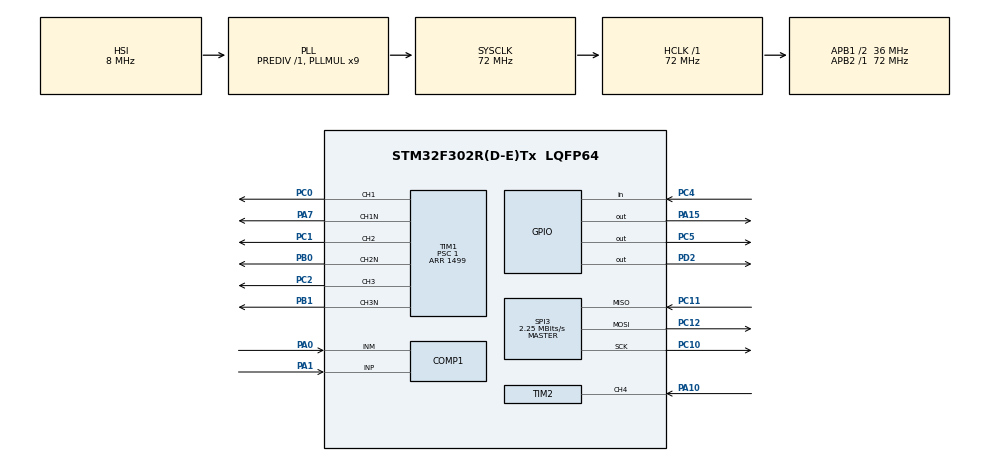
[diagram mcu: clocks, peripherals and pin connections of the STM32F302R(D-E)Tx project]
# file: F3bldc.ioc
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COMP1.BlankingSrce=COMP_BLANKINGSRCE_TIM1OC5
COMP1.TriggerMode=COMP_TRIGGERMODE_IT_RISING_FALLING
Dma.Request0=TIM2_CH2/CH4
Dma.TIM2_CH2/CH4.0.Direction=DMA_PERIPH_TO_MEMORY
Dma.TIM2_CH2/CH4.0.Instance=DMA1_Channel7
Dma.TIM2_CH2/CH4.0.MemDataAlignment=DMA_MDATAALIGN_WORD
Dma.TIM2_CH2/CH4.0.MemInc=DMA_MINC_ENABLE
Dma.TIM2_CH2/CH4.0.Mode=DMA_NORMAL
Dma.TIM2_CH2/CH4.0.PeriphDataAlignment=DMA_PDATAALIGN_HALFWORD
Dma.TIM2_CH2/CH4.0.PeriphInc=DMA_PINC_DISABLE
Dma.TIM2_CH2/CH4.0.Priority=DMA_PRIORITY_HIGH
IWDG.Prescaler=IWDG_PRESCALER_16
IWDG.Reload=4000
Mcu.Family=STM32F3
Mcu.Name=STM32F302R(D-E)Tx
Mcu.Package=LQFP64
NVIC.COMP1_2_IRQn=true\:0\:0\:false\:false\:true\:false
NVIC.DMA1_Channel7_IRQn=true\:0\:0\:false\:false\:true\:false
NVIC.PriorityGroup=NVIC_PRIORITYGROUP_4
NVIC.TIM1_UP_TIM16_IRQn=true\:0\:0\:false\:false\:true\:true
PA0.Mode=INM
PA0.Signal=COMP1_INM
PA1.Mode=INP
PA1.Signal=COMP1_INP
PA10.Signal=S_TIM2_CH4
PA13.Mode=Serial_Wire
PA13.Signal=SYS_JTMS-SWDIO
PA14.Mode=Serial_Wire
PA14.Signal=SYS_JTCK-SWCLK
PA15.Signal=GPIO_Output
PA7.Mode=PWM Generation1 CH1 CH1N
PA7.Signal=TIM1_CH1N
PB0.Mode=PWM Generation2 CH2 CH2N
PB0.Signal=TIM1_CH2N
PB1.Mode=PWM Generation3 CH3 CH3N
PB1.Signal=TIM1_CH3N
PC0.Signal=S_TIM1_CH1
PC1.Signal=S_TIM1_CH2
PC10.Mode=Full_Duplex_Master
PC10.Signal=SPI3_SCK
PC11.Mode=Full_Duplex_Master
PC11.Signal=SPI3_MISO
PC12.Mode=Full_Duplex_Master
PC12.Signal=SPI3_MOSI
PC2.Signal=S_TIM1_CH3
PC4.GPIO_PuPd=GPIO_PULLUP
PC4.Signal=GPIO_Input
PC5.Signal=GPIO_Output
PD2.Signal=GPIO_Output
ProjectManager.HeapSize=0x200
ProjectManager.StackSize=0x400
ProjectManager.TargetToolchain=TrueSTUDIO
RCC.AHBFreq_Value=72000000
RCC.APB1CLKDivider=RCC_HCLK_DIV2
RCC.APB1Freq_Value=36000000
RCC.APB1TimFreq_Value=72000000
RCC.APB2Freq_Value=72000000
RCC.APB2TimFreq_Value=72000000
RCC.CortexFreq_Value=72000000
RCC.HCLKFreq_Value=72000000
RCC.HSE_VALUE=8000000
RCC.HSI_VALUE=8000000
RCC.LSE_VALUE=32768
RCC.PLLMUL=RCC_PLL_MUL9
RCC.SYSCLKFreq_VALUE=72000000
RCC.SYSCLKSourceVirtual=RCC_SYSCLKSOURCE_PLLCLK
RCC.USBFreq_Value=72000000
SH.S_TIM1_CH1.0=TIM1_CH1,PWM Generation1 CH1 CH1N
SH.S_TIM1_CH2.0=TIM1_CH2,PWM Generation2 CH2 CH2N
SH.S_TIM1_CH3.0=TIM1_CH3,PWM Generation3 CH3 CH3N
SH.S_TIM2_CH4.0=TIM2_CH4,Input_Capture4_from_TI4
SPI3.BaudRatePrescaler=SPI_BAUDRATEPRESCALER_16
SPI3.CLKPhase=SPI_PHASE_2EDGE
SPI3.CLKPolarity=SPI_POLARITY_LOW
SPI3.CalculateBaudRate=2.25 MBits/s
SPI3.DataSize=SPI_DATASIZE_16BIT
SPI3.Direction=SPI_DIRECTION_2LINES
SPI3.Mode=SPI_MODE_MASTER
SPI3.VirtualType=VM_MASTER
TIM1.Channel-PWM\ Generation1\ CH1\ CH1N=TIM_CHANNEL_1
TIM1.Channel-PWM\ Generation2\ CH2\ CH2N=TIM_CHANNEL_2
TIM1.Channel-PWM\ Generation3\ CH3\ CH3N=TIM_CHANNEL_3
TIM1.Channel-PWM\ Generation5\ No\ Output=TIM_CHANNEL_5
TIM1.CounterMode=TIM_COUNTERMODE_UP
TIM1.DeadTime=0
TIM1.Period=1499
TIM1.Prescaler=1
TIM1.TIM_MasterOutputTrigger=TIM_TRGO_RESET
TIM16.Period=5000
TIM16.Prescaler=10
TIM2.Channel-Input_Capture4_from_TI4=TIM_CHANNEL_4
TIM2.ICPolarity_CH4=TIM_INPUTCHANNELPOLARITY_BOTHEDGE
TIM2.Period=65536
TIM2.Prescaler=0
TIM3.Period=65535
TIM3.Prescaler=10
VP_IWDG_VS_IWDG.Mode=IWDG_Activate
VP_TIM16_VS_ClockSourceINT.Mode=Enable_Timer
VP_TIM1_VS_ClockSourceINT.Mode=Internal
VP_TIM1_VS_no_output5.Mode=PWM Generation5 No Output
VP_TIM2_VS_ClockSourceINT.Mode=Internal
VP_TIM3_VS_ClockSourceINT.Mode=Internal
board=F3bldc

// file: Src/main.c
/** Test Program for STM32F3 esc version 2, with Drv8323 driver.
 * Thanks to o-drive for SPI code for TI driver setup https://github.com/madcowswe/ODrive
 *
 * TODO, work on startup sequence. currently might not start up all motors.
 * possibly polling comparator at startup to limit triggers.
*/

#include "main.h"
#include "stm32f3xx_hal.h"

/* USER CODE BEGIN Includes */
#define ADR_FAULT_STAT      (0x00)
#define ADR_VGS_STAT        (0x01)
#define ADR_DRV_CTRL        (0x02)
#define ADR_GATE_DRV_HS     (0x03)
#define ADR_GATE_DRV_LS     (0x04)
#define ADR_OCP_CTRL        (0x05)
#define ADR_CSA_CTRL        (0x06)
/* USER CODE END Includes */

COMP_HandleTypeDef hcomp1;

IWDG_HandleTypeDef hiwdg;

SPI_HandleTypeDef hspi3;

TIM_HandleTypeDef htim1;
TIM_HandleTypeDef htim2;
TIM_HandleTypeDef htim3;
TIM_HandleTypeDef htim16;
DMA_HandleTypeDef hdma_tim2_ch2_ch4;

/* USER CODE BEGIN PV */
int brake = 1;                   // turns on motor brake on 0 input , shorts motor windings
char slow_decay = 1;              // turns on complementary PWM with active braking 1 or freewheel 0
int start_power = 325;            // startup duty cycle , out of 1499
char advancedivisorup = 10;        // amount of advance when BEMF rising, 60 degree time / 10 = 6 degree advance for example
char advancedivisordown = 10;      // 60 degree time / advancedivisor = advance, should set proportianal to rpm in future
int pwm_settle = 60;             // blanking source duration for comparator, out of 1499
int start_com_interval = 10000;    // set a start interval after start sequence, small motors may need lower interval
int startupcycles = 15000;           // number of cycles to keep startup power reduction

int bi_direction = 0;
int max_servo_deviation = 150;

int bemf_counts;
int compit;
int filter_delay;
int filter_level;
char error = 0;
int signal_timeout_threshold = 20000;
int signaltimeout = 0;
int servoraw;
int adjusted_input = 0;
int commutate_count= 0;

int startup_throttle_limit_countdown;
int step = 1;
int timestamp;
int count = 10;
int upthiszctime = 0;
int uplastzctime = 0;
int startupcountdown=0;
char advancedivisor = 5;                    // increase divisor to decrease advance,
int thiszctime = 0;
int lastzctime = 0;
int sensorless = 0;
int commutation_interval = 0;
int advance = 0; // set proportianal to commutation time. with advance divisor
int blanktime = 2000;
int waitTime = 0;
int inputcapture = 0;
int zctimeout = 0;
int zc_timeout_threshold = 10000;   // depends on commutation speed, set in main loop
int duty_cycle = 0;
int pwm = 1;
int floating = 2;
int lowside = 3;
int forward = 1;
int rising = 1;
int running = 0;
int started = 0;
char armed = 0;
int armedcount = 0;
int input_buffer_size = 64;
int smallestnumber = 20000;
uint32_t dma_buffer[64];
int input = 0;
int newinput =0;
int voltageraw = 0;
int currentraw = 0;
uint32_t ADC1ConvertedValues[2] = {0,0};
char servoPwm = 0;
char inputSet = 0;

/* Private variables ---------------------------------------------------------*/
/*Register setup for the DRV8323 driver*/
uint16_t DRV8323regDrvCtrl =
  0 << 9  | //DIS_CPUV
  0 << 8  | //DIS_GDF
  0 << 7  | //OTW_REP
  0 << 5  | //PWM_MODE
  0 << 4  | //1PWM_COM
  0 << 3  | //1PWM_DIR
  0 << 2  | //COAST
  0 << 1  | //BRAKE
  0;        //CLR_FLT

uint16_t DRV8323regGateDrvHS =
  3 << 8  | //LOCK
  6 << 4 | //IDRIVEP_HS
  6;       //IDRIVEN_HS

uint16_t DRV8323regGateDrvLS =
  1 << 10 | //CBC
  2 << 8  | //TDRIVE
  6 << 4 | //IDRIVEP_LS                       // set very low for now
  6;       //IDRIVEN_LS

uint16_t DRV8323regOcpCtrl =
  1 << 10 | //TRETRY
  2 << 8  | //DEAD_TIME
  1 << 6  | //OCP_MODE
  1 << 4  | //OCP_DEG
  0;        //VDS_LVL

uint16_t DRV8323regCsaCtrl =
  0 << 10 | //CSA_FET
  1 << 9  | //VREF_DIV
  0 << 8  | //LS_REF
  2 << 6  | //CSA_GAIN
  0 << 5  | //DIS_SEN
  0 << 4  | //CSA_CAL_A
  0 << 3  | //CCSA_CAL_B
  0 << 2  | //CCSA_CAL_C
  3;        //CSEN_LVL
/* USER CODE END PV */

void SystemClock_Config(void);
static void MX_GPIO_Init(void);
static void MX_DMA_Init(void);
static void MX_COMP1_Init(void);
static void MX_TIM1_Init(void);
static void MX_TIM2_Init(void);
static void MX_TIM3_Init(void);
static void MX_IWDG_Init(void);
static void MX_TIM16_Init(void);
static void MX_SPI3_Init(void);

void HAL_TIM_MspPostInit(TIM_HandleTypeDef *htim);

/* USER CODE BEGIN PFP */
/* Private function prototypes -----------------------------------------------*/
void DRV8323_writeSpi(uint8_t regAdr, uint16_t regVal)
{
	uint16_t controlword = (regAdr & 0x7) << 11 | (regVal & 0x7ff); //MSbit =0 for write, address is 3 bits (MSbit is always 0), data is 11 bits

	HAL_GPIO_WritePin(GPIOD, GPIO_PIN_2, GPIO_PIN_RESET);
	HAL_SPI_Transmit(&hspi3, (uint8_t*)(&controlword), 1, 1000);
	HAL_GPIO_WritePin(GPIOD, GPIO_PIN_2, GPIO_PIN_SET);
	return;
}

uint16_t DRV8323_readSpi(uint8_t regAdr)
{
 //   uint16_t zerobuff = 0;
	uint16_t controlword = 0x8000 | (regAdr & 0x7) << 11; //MSbit =1 for read, address is 3 bits (MSbit is always 0), data is 11 bits
	uint16_t recbuff = 0xbeef;

	HAL_GPIO_WritePin(GPIOD, GPIO_PIN_2, GPIO_PIN_RESET);
	HAL_SPI_TransmitReceive(&hspi3, (uint8_t*)(&controlword), (uint8_t*)(&recbuff), 1, 1000);
	HAL_GPIO_WritePin(GPIOD, GPIO_PIN_2, GPIO_PIN_SET);
	return (0x7ff&recbuff);
}

void DRV8323_setupSpi()
{
//    volatile uint16_t temp;
    HAL_GPIO_WritePin(GPIOC, GPIO_PIN_5, GPIO_PIN_SET); //PC5 is enable to motor controller
    HAL_Delay(1);
	DRV8323_writeSpi(ADR_DRV_CTRL, DRV8323regDrvCtrl);
	HAL_Delay(1);
	DRV8323_writeSpi(ADR_GATE_DRV_HS, DRV8323regGateDrvHS);
	HAL_Delay(2);
	DRV8323_writeSpi(ADR_GATE_DRV_LS, DRV8323regGateDrvLS);
	HAL_Delay(2);
	DRV8323_writeSpi(ADR_OCP_CTRL, DRV8323regOcpCtrl);
	HAL_Delay(2);
	DRV8323_writeSpi(ADR_CSA_CTRL, DRV8323regCsaCtrl);
	HAL_Delay(2);

//    temp = DRV8323_readSpi(ADR_FAULT_STAT);
//    temp = DRV8323_readSpi(ADR_VGS_STAT);
//    temp = DRV8323_readSpi(ADR_DRV_CTRL);
 //   temp = DRV8323_readSpi(ADR_GATE_DRV_HS);
//    temp = DRV8323_readSpi(ADR_GATE_DRV_LS);
 //   temp = DRV8323_readSpi(ADR_OCP_CTRL);
//    temp = DRV8323_readSpi(ADR_CSA_CTRL);
	return;
}

long map(long x, long in_min, long in_max, long out_min, long out_max)
{
	if (x < in_min){
		x = in_min;
	}
	if (x > in_max){
		x = in_max;
	}
	return (x - in_min) * (out_max - out_min) / (in_max - in_min) + out_min;

}

/* PhaseA() B and C.
 * Sets the pin mode for the PWM output depending on the phase.
 */
void phaseA(int newPhase) {
	if (newPhase == pwm) {
		if(!slow_decay){
			LL_GPIO_SetPinMode(GPIOA, GPIO_PIN_7, LL_GPIO_MODE_OUTPUT);
			GPIOA->BRR = GPIO_PIN_7;
		}else{
			LL_GPIO_SetPinMode(GPIOA, GPIO_PIN_7, LL_GPIO_MODE_ALTERNATE); // low
		}
		LL_GPIO_SetPinMode(GPIOC, GPIO_PIN_0, LL_GPIO_MODE_ALTERNATE);  // high

	}

	if (newPhase == floating) {
		LL_GPIO_SetPinMode(GPIOA, GPIO_PIN_7, LL_GPIO_MODE_OUTPUT);
		GPIOA->BRR = GPIO_PIN_7;
		LL_GPIO_SetPinMode(GPIOC, GPIO_PIN_0, LL_GPIO_MODE_OUTPUT);
		GPIOC->BRR = GPIO_PIN_0;
	}

	if (newPhase == lowside) {          // low mosfet on
		LL_GPIO_SetPinMode(GPIOA, GPIO_PIN_7, LL_GPIO_MODE_OUTPUT);
		GPIOA->BSRR = GPIO_PIN_7;
		LL_GPIO_SetPinMode(GPIOC, GPIO_PIN_0, LL_GPIO_MODE_OUTPUT);
		GPIOC->BRR = GPIO_PIN_0;
	}

}

void phaseB(int newPhase) {

	if (newPhase == pwm) {
		if(!slow_decay){
			LL_GPIO_SetPinMode(GPIOB, GPIO_PIN_0, LL_GPIO_MODE_OUTPUT);
			GPIOB->BRR = GPIO_PIN_0;
		}else{
			LL_GPIO_SetPinMode(GPIOB, GPIO_PIN_0, LL_GPIO_MODE_ALTERNATE);
		}
		LL_GPIO_SetPinMode(GPIOC, GPIO_PIN_1, LL_GPIO_MODE_ALTERNATE);

	}

	if (newPhase == floating) {            // floating
		LL_GPIO_SetPinMode(GPIOB, GPIO_PIN_0, LL_GPIO_MODE_OUTPUT);
		GPIOB->BRR = GPIO_PIN_0;
		LL_GPIO_SetPinMode(GPIOC, GPIO_PIN_1, LL_GPIO_MODE_OUTPUT);
		GPIOC->BRR = GPIO_PIN_1;
	}

	if (newPhase == lowside) {              // lowside
		LL_GPIO_SetPinMode(GPIOB, GPIO_PIN_0, LL_GPIO_MODE_OUTPUT);
		GPIOB->BSRR = GPIO_PIN_0;
		LL_GPIO_SetPinMode(GPIOC, GPIO_PIN_1, LL_GPIO_MODE_OUTPUT);
		GPIOC->BRR = GPIO_PIN_1;
	}
}

void phaseC(int newPhase) {
	if (newPhase == pwm) {
		if(!slow_decay){
			LL_GPIO_SetPinMode(GPIOB, GPIO_PIN_1, LL_GPIO_MODE_OUTPUT);
			GPIOB->BRR = GPIO_PIN_1;
		}else{
			LL_GPIO_SetPinMode(GPIOB, GPIO_PIN_1, LL_GPIO_MODE_ALTERNATE);
		}
		LL_GPIO_SetPinMode(GPIOC, GPIO_PIN_2, LL_GPIO_MODE_ALTERNATE);

	}

	if (newPhase == floating) {
		LL_GPIO_SetPinMode(GPIOB, GPIO_PIN_1, LL_GPIO_MODE_OUTPUT);
		GPIOB->BRR = GPIO_PIN_1;
		LL_GPIO_SetPinMode(GPIOC, GPIO_PIN_2, LL_GPIO_MODE_OUTPUT);
		GPIOC->BRR = GPIO_PIN_2;
	}

	if (newPhase == lowside) {
		LL_GPIO_SetPinMode(GPIOB, GPIO_PIN_1, LL_GPIO_MODE_OUTPUT);
		GPIOB->BSRR = GPIO_PIN_1;
		LL_GPIO_SetPinMode(GPIOC, GPIO_PIN_2, LL_GPIO_MODE_OUTPUT);
		GPIOC->BRR = GPIO_PIN_2;
	}

}

/*
 * sets phase A , B , C to either pwm , low or floating depending on the drive step
 */
void comStep(int newStep) {

	if (newStep == 1) {			//A-B
		phaseA(pwm);
		phaseB(lowside);
		phaseC(floating);
	}

	if (newStep == 2) {			// C-B
		phaseA(floating);
		phaseB(lowside);
		phaseC(pwm);
	}

	if (newStep == 3) {		// C-A
		phaseA(lowside);
		phaseB(floating);
		phaseC(pwm);
	}

	if (newStep == 4) {    // B-A
		phaseA(lowside);
		phaseB(pwm);
		phaseC(floating);
	}

	if (newStep == 5) {          // B-C
		phaseA(floating);
		phaseB(pwm);
		phaseC(lowside);
	}

	if (newStep == 6) {       // A-C
		phaseA(pwm);
		phaseB(floating);
		phaseC(lowside);
	}

}

void allOff() {          // all motor pwm output low
	phaseA(floating);
	phaseB(floating);
	phaseC(floating);
}

void fullBrake(){               // turns on lower mosfets to short motor windings and brake
	phaseA(lowside);
	phaseB(lowside);
	phaseC(lowside);
}

/*
 * Sets the comparator input to the correct one for the current step.
 */
void changeCompInput() {

	if (step == 1 || step == 4) {   // c floating
		hcomp1.Init.InvertingInput = COMP_INVERTINGINPUT_DAC1_CH2;
	}

	if (step == 2 || step == 5) {     // a floating
		hcomp1.Init.InvertingInput = COMP_INVERTINGINPUT_IO1;
	}

	if (step == 3 || step == 6) {      // b floating
		hcomp1.Init.InvertingInput = COMP_INVERTINGINPUT_DAC1_CH1;
	}
	if (rising){
		hcomp1.Init.TriggerMode = COMP_TRIGGERMODE_IT_FALLING;   // polarity of comp output is reversed
	}else{                          // falling bemf
		hcomp1.Init.TriggerMode = COMP_TRIGGERMODE_IT_RISING;
	}

	if (HAL_COMP_Init(&hcomp1) != HAL_OK) {
		_Error_Handler(__FILE__, __LINE__);
	}

}

/* commutate increments and changes the current commutation step and comparator input
 *  there are 6 steps for bldc drive per electrical revolution.
 */

void commutate() {

	if (forward == 1){
		step++;
		if (step > 6) {
			step = 1;
		}
		if (step == 1 || step == 3 || step == 5) {
			rising = 1;
		}
		if (step == 2 || step == 4 || step == 6) {
			rising = 0;
		}
	}
	if (forward == 0){
		step--;
		if (step < 1) {
			step = 6;
		}
		if (step == 1 || step == 3 || step == 5) {
			rising = 0;
		}
		if (step == 2 || step == 4 || step == 6) {
			rising = 1;
		}
	}
	comStep(step);
	changeCompInput();
}

/*

*/
void HAL_COMP_TriggerCallback(COMP_HandleTypeDef *hcomp) {
	if (TIM3->CNT < commutation_interval>>1){
		return;
	}
	/* Turn On LED3 */
		thiszctime = TIM3->CNT;
	//	GPIOA->BSRR = GPIO_PIN_15;
if (commutation_interval < 300 && bemf_counts < 300){         // startup failure
	HAL_COMP_Stop_IT(&hcomp1);
	input = 0;
			error = 2;
			return;
}
	if (compit > 20){
		HAL_COMP_Stop_IT(&hcomp1);
		error = 1;
		return;
	}
	compit +=1;
	while (TIM3->CNT - timestamp < filter_delay){

	}
	if (rising){
	//	advancedivisor = advancedivisorup;
		for (int i = 0; i < filter_level; i++){
		if (HAL_COMP_GetOutputLevel(&hcomp1) == COMP_OUTPUTLEVEL_HIGH){
	//		GPIOA->BRR = GPIO_PIN_15;
		return;
		}
		}
	}else{
	//	advancedivisor = advancedivisordown;
		for (int i = 0; i < filter_level; i++){
		if (HAL_COMP_GetOutputLevel(&hcomp1) == COMP_OUTPUTLEVEL_LOW){
	//		GPIOA->BRR = GPIO_PIN_15;

			return;
		}
		}

	}
	timestamp = TIM3->CNT;
	TIM3->CNT = 0 + timestamp - thiszctime;

	HAL_COMP_Stop_IT(&hcomp1);

	zctimeout = 0;

				commutation_interval = ((5 *commutation_interval) + thiszctime) / 6;    // TEST!   divide by two when tracking up down time independant
	//			bad_commutation = 0;
//			}
			advance = commutation_interval / advancedivisor;
			waitTime = commutation_interval /2   - advance ;
			blanktime = commutation_interval / 10;
		//	GPIOA->BRR = GPIO_PIN_15;

//		if(tempbrake){
//				HAL_COMP_Stop_IT(&hcomp1);
//				return;
//		}
		if (sensorless){
			while (TIM3->CNT  < waitTime){
			//	GPIOA->BSRR = GPIO_PIN_15;

			}
	//		TIM1->CNT = duty_cycle;
//			GPIOA->BRR = GPIO_PIN_15;
//			forcedcount = 0;
			compit = 0;
			commutate();
			while (TIM3->CNT  < waitTime + blanktime){
			}
		}

		lastzctime = thiszctime;
		if (bemf_counts < 200){
        bemf_counts++;
		}

//	}
//	GPIOA->BSRR = GPIO_PIN_15;
	if (HAL_COMP_Start_IT(&hcomp1) != HAL_OK) {
		/* Initialization Error */
		Error_Handler();
	}
//	GPIOA->BRR = GPIO_PIN_15;
}

void playStartupTune(){    // Sets the prescaler of PWM timer to 75 to put the frequency in the audible range
	TIM1->PSC = 75;
	TIM1->CCR1 = 5;        // keep the duty cycle low
	TIM1->CCR2 = 5;
	TIM1->CCR3 = 5;
	comStep(1);            // put it on step one
	HAL_Delay(100);
	TIM1->PSC = 50;        // change pitch by changing prescaler
	HAL_Delay(100);
	TIM1->PSC = 25;
	HAL_Delay(100);
	allOff();
	TIM1->PSC = 1;         // put the prescaler back to normal
}

void playInputTune(){
	TIM1->PSC = 100;
	TIM1->CCR1 = 5;
	TIM1->CCR2 = 5;
	TIM1->CCR3 = 5;
	comStep(1);
	HAL_Delay(100);
	TIM1->PSC = 50;
	HAL_Delay(100);
	allOff();
	TIM1->PSC = 1;
}

void getADCs(){
	voltageraw = ADC1ConvertedValues[0];
	currentraw = ADC1ConvertedValues[1];

}

//void HAL_ADC_ConvCpltCallback(ADC_HandleTypeDef* hadc1)
//{
//	getADCs();
//}

/* Checks the dma buffer for the smallest time increment to determine type of input */
void detectInput(){                         // legacy function, not needed unless using input capture to DMA buffer
	smallestnumber = 20000;
	servoPwm = 0;
	int lastnumber = dma_buffer[0];
	for ( int j = 1 ; j < input_buffer_size; j++){

		if((dma_buffer[j] - lastnumber) < smallestnumber){ // blank space
			smallestnumber = dma_buffer[j] - lastnumber;

		}
		lastnumber = dma_buffer[j];
	}
	if (smallestnumber > 1000 ){
		servoPwm = 1;
		TIM2->PSC = 71;
		TIM2->CNT = 65536;
	}

	if (smallestnumber == 0){
		inputSet = 0;
	}else{
		inputSet = 1;
		HAL_Delay(50);
	}
	HAL_TIM_IC_Start_DMA(&htim2, TIM_CHANNEL_4, dma_buffer , 64);        // starts the input capture to DMA buffer of length 64
}

void computeServoInput(){                   // maps the servo pulse length to newinput

   if((dma_buffer[1] - dma_buffer[0] > 980 ) && ((dma_buffer[1] - dma_buffer[0]) < 2010)){ // servo zone
	   if((dma_buffer[2] - dma_buffer[1]) > 2500 ){          // blank space
		   servoraw = map((dma_buffer[1] - dma_buffer[0]), 1090, 2000, 0, 2000);
	   }
	} else if((dma_buffer[2] - dma_buffer[1] > 980 ) && ((dma_buffer[2] - dma_buffer[1]) < 2010)){ // servo zone
  	   if((dma_buffer[1] - dma_buffer[0]) > 2500 ){          // blank space
  		   servoraw = map((dma_buffer[2] - dma_buffer[1]), 1090, 2000, 0, 2000);
  	   }
  	} else{
  		servoraw = 1;       // not enough to arm but and below motor start threshold
  	}
   if (servoraw - newinput > max_servo_deviation){
   		newinput += max_servo_deviation;
   	}else if(newinput - servoraw > max_servo_deviation){
   		newinput -= max_servo_deviation;
   	}else{
   		newinput = servoraw;
   	}
}

void transferComplete(){      // called when DMA buffer is full, starts DMA transfer with reduced buffer size
	if (inputSet == 1){
		if  (servoPwm == 1){
			computeServoInput();
			signaltimeout = 0;
			TIM2->CNT = 0;
			HAL_TIM_IC_Start_DMA(&htim2, TIM_CHANNEL_4, dma_buffer , 3);

		}
	}
}
void startMotor() {
	commutate_count++;
    char decaystate = slow_decay;
    sensorless = 0;
	if (running == 0){
		HAL_COMP_Stop_IT(&hcomp1);
		slow_decay = 1;

	commutate();
	HAL_Delay(2);

	commutation_interval = start_com_interval;
	TIM3->CNT = 0;
//	TIM2->CNT = 0;
//	TIM2->ARR = commutation_interval * 2;
	running = 1;
	if (HAL_COMP_Start_IT(&hcomp1) != HAL_OK) {
			/* Initialization Error */
			Error_Handler();
		}
	}

	slow_decay = decaystate;    // return to normal
	sensorless = 1;
	startupcountdown =0;
	bemf_counts = 0;

}

/* USER CODE END PFP */

int main(void)
        {

  /* MCU Configuration----------------------------------------------------------*/

  /* Reset of all peripherals, Initializes the Flash interface and the Systick. */
  HAL_Init();

  /* Configure the system clock */
  SystemClock_Config();

  /* Initialize all configured peripherals */
  MX_GPIO_Init();
  MX_DMA_Init();
  MX_COMP1_Init();
  MX_TIM1_Init();
  MX_TIM2_Init();
  MX_TIM3_Init();
  MX_IWDG_Init();
  MX_TIM16_Init();
  MX_SPI3_Init();

  /* USER CODE BEGIN 2 */
    HAL_TIM_PWM_Start(&htim1, TIM_CHANNEL_1);
  	HAL_TIMEx_PWMN_Start(&htim1, TIM_CHANNEL_1);
  	HAL_TIM_PWM_Start(&htim1, TIM_CHANNEL_2);
  	HAL_TIMEx_PWMN_Start(&htim1, TIM_CHANNEL_2);
  	HAL_TIM_PWM_Start(&htim1, TIM_CHANNEL_3);
  	HAL_TIMEx_PWMN_Start(&htim1, TIM_CHANNEL_3);
      HAL_TIM_Base_Start_IT(&htim16);
  	HAL_TIM_Base_Start(&htim3);

	        // plays a startup tune throught the motor

	if (HAL_TIM_OC_Start(&htim1, TIM_CHANNEL_5) != HAL_OK)
	{
	//	_Error_Handler(__FILE__, __LINE__);
	}

	//  	if (HAL_ADC_Start_DMA(&hadc1, (uint32_t*)ADC1ConvertedValues, 2) != HAL_OK)
	//  		return 0;

	if(HAL_COMP_Start_IT(&hcomp1) != HAL_OK)            // start comparator in interrupt mode
	{
		/* Initialization Error */
		Error_Handler();
	}
	if(HAL_IWDG_Init(&hiwdg) != HAL_OK)          // start watch dog timer
	{
		/* Initialization Error */
		Error_Handler();
	}
  	DRV8323_setupSpi();
  	playStartupTune();
  	TIM1->CCR1 = 0;												// set duty cycle to low start amount
  	TIM1->CCR2 = 0;
  	TIM1->CCR3 = 0;
  	TIM1->CCR5 = pwm_settle;

if(bi_direction){
	newinput = 1005;
}

  	///test code
  	 // 	 LL_GPIO_SetPinMode(GPIOA, GPIO_PIN_7, LL_GPIO_MODE_OUTPUT);
  	 // 	 LL_GPIO_SetPinMode(GPIOB, GPIO_PIN_0, LL_GPIO_MODE_OUTPUT);
  	 //	LL_GPIO_SetPinMode(GPIOB, GPIO_PIN_1, LL_GPIO_MODE_OUTPUT);

  	/// HIGH SIDES////
  	 //	LL_GPIO_SetPinMode(GPIOC, GPIO_PIN_0, LL_GPIO_MODE_OUTPUT);
  	 //	LL_GPIO_SetPinMode(GPIOC, GPIO_PIN_1, LL_GPIO_MODE_OUTPUT);
  	 //	LL_GPIO_SetPinMode(GPIOC, GPIO_PIN_2, LL_GPIO_MODE_OUTPUT);
  	//  	phaseA(floating);
  	//  	phaseB(floating);
  	//  	phaseC(pwm);
  	//  	LL_GPIO_SetPinMode(GPIOA, GPIO_PIN_7, LL_GPIO_MODE_OUTPUT);
  	//  	GPIOA->BSRR = GPIO_PIN_7;

  	/* USER CODE END 2 */

  /* Infinite loop */
  /* USER CODE BEGIN WHILE */
  while (1)
  {
	  if(HAL_IWDG_Refresh(&hiwdg) != HAL_OK)                   // watchdog refresh
	{
		/* Refresh Error */
		Error_Handler();
	}

	  compit = 0;
	  count++;

	  if ( count > 50000) {
		  count = 0;
	  }

	/*
	 * The next section takes newinput and keeps it within rate of change limits,
	 * the variable newinput can come from any source.
	 */

		if (bi_direction) {
			//char oldbrake = brake;

			if (newinput > 1100) {
				if (forward == 0) {
					forward = 1;
					bemf_counts = 0;

				}
				adjusted_input = (newinput - 1050) * 3;

			}
			if (newinput < 780) {
				if (forward == 1) {
					forward = 0;
					bemf_counts = 0;

				}
				adjusted_input = ((780 - newinput) * 3) + 100;
			}

			if (newinput > 779 && newinput < 1101) {
				adjusted_input = 0;
			}
	}else{           // single direction only
		adjusted_input = newinput;
	}

//	  adjusted_input = newinput;
	  if (adjusted_input > 100){
		if (adjusted_input > 2000){
			adjusted_input = 2000;
		}
		if (adjusted_input >= input){
			if (adjusted_input - input > 1){
					input += 1;

			}else{
				input = adjusted_input;
			}
		}
		if (adjusted_input < input){
			if (input - adjusted_input > 1){
				input -=1 ;
			}else{
				input = adjusted_input;
			}
		}
	}else{
		input = adjusted_input;
	}

	if (inputSet == 0){
		HAL_Delay(10);                             //        set back to 10 after testing
		detectInput();

	}

	if (bemf_counts < 3 || commutation_interval > 3000) {
				filter_delay = 0;
				filter_level = 12;
			} else {
				filter_delay = 0;
				filter_level = 5;

			}
	advancedivisor = map((commutation_interval), 100, 8000, 4, 8);

	signaltimeout++;
	if (signaltimeout > signal_timeout_threshold) {
		signaltimeout = 0;
		input = 0;
		armed = 0;
		armedcount = 0;
		error = 1;
		inputSet = 0;
		TIM15->PSC=0;
		TIM16->PSC=0;
		servoPwm = 0;
		HAL_TIM_Base_Start_IT(&htim16);
	//	IC_buffer_size = 64;
		for (int i=0; i < 64; i++){
			dma_buffer[i] = 0;
		}
		HAL_TIM_IC_Start_DMA(&htim2, TIM_CHANNEL_1, dma_buffer , 64);
		//	  duty_cycle = 0;          //mid point
	}

	if (!armed){                   // if not armed
		if ((inputSet == 1)&&(input == 0)){
			armedcount++;
			HAL_Delay(1);
			if (armedcount > 500){            // require a input to be stable at 0 for 500 ms
				commutation_interval = 0;
				armed = 1;
				playInputTune();
			}
		}
		if (input > 1){            // if the input goes over 1 reset armed count
			armedcount = 0;
		}
	}

	if (duty_cycle < 500 && commutation_interval < 200){         // stuck commutation at pwm speed
		zctimeout = zc_timeout_threshold;
	}

	if ((input > 100)&&(armed == 1)) {             // minimum input amount to start motor
		started = 1;
		duty_cycle = input - 15;                   // sets duty cycle, PWM
		if (duty_cycle > 1498){                      //  limit to 1400 for testing out of 1499
			duty_cycle = 1498;
		}
		if (bemf_counts < 30 ){
			if (duty_cycle > 500){
				duty_cycle = 500;
			}
			if (duty_cycle < 200){
				duty_cycle = 200;
			}
		}
		if (bemf_counts < 5 ){

					if (duty_cycle < start_power){
						duty_cycle = start_power;
					}
				}

		if (running){
			TIM1->CCR1 = duty_cycle;                // sets duty cycle for PWM output
			TIM1->CCR2 = duty_cycle;
			TIM1->CCR3 = duty_cycle;
			TIM1->CCR5 = pwm_settle;
		}
	}
	if (input <= 100) {                   //if input is less than 100 stop all, needs work for proper restart on the fly
		//HAL_COMP_Stop_IT(&hcomp1);
		started = 0;
	//	running = 0;
	//	commutation_interval = 0;
	//	duty_cycle = 120;
		if (!brake){
	//		allOff();
		}
		if(brake){
			fullBrake();
		}
		TIM1->CCR1 = 1;
		TIM1->CCR2 = 1;
		TIM1->CCR3 = 1;
	}

	if (TIM3->CNT > 40000){          // if the commutation timer goes past a normal commuatation length ZC's have timed out
		  running = 0;
		  started = 0;
		  TIM3->CNT = 0;

		}

	if (started == 1) {                           // Start the motor
		if (running == 0) {
			allOff();
			startMotor();  // safety on for input testing   ************************************************
		}
	}

//	if(startup_throttle_limit_countdown < startupcycles){           // to be tested, throttle limit for a short duration at startup
//		startup_throttle_limit_countdown++;
//		TIM1->CCR1 = start_power;
//		TIM1->CCR2 = start_power;
//		TIM1->CCR3 = start_power;
//
//	}

//	zc_timeout_threshold = 2000 - duty_cycle;               // sets the zero cross timeout threshold lower at higher duty cycles
}

  /* USER CODE END 3 */

}

/*
** This notice applies to any and all portions of this file
* that are not between comment pairs USER CODE BEGIN and
* USER CODE END. Other portions of this file, whether
* inserted by the user or by software development tools
* are owned by their respective copyright owners.
*
* COPYRIGHT(c) 2019 STMicroelectronics
*
* Redistribution and use in source and binary forms, with or without modification,
* are permitted provided that the following conditions are met:
*   1. Redistributions of source code must retain the above copyright notice,
*      this list of conditions and the following disclaimer.
*   2. Redistributions in binary form must reproduce the above copyright notice,
*      this list of conditions and the following disclaimer in the documentation
*      and/or other materials provided with the distribution.
*   3. Neither the name of STMicroelectronics nor the names of its contributors
*      may be used to endorse or promote products derived from this software
*      without specific prior written permission.
*
* THIS SOFTWARE IS PROVIDED BY THE COPYRIGHT HOLDERS AND CONTRIBUTORS "AS IS"
* AND ANY EXPRESS OR IMPLIED WARRANTIES, INCLUDING, BUT NOT LIMITED TO, THE
* IMPLIED WARRANTIES OF MERCHANTABILITY AND FITNESS FOR A PARTICULAR PURPOSE ARE
* DISCLAIMED. IN NO EVENT SHALL THE COPYRIGHT HOLDER OR CONTRIBUTORS BE LIABLE
* FOR ANY DIRECT, INDIRECT, INCIDENTAL, SPECIAL, EXEMPLARY, OR CONSEQUENTIAL
* DAMAGES (INCLUDING, BUT NOT LIMITED TO, PROCUREMENT OF SUBSTITUTE GOODS OR
* SERVICES; LOSS OF USE, DATA, OR PROFITS; OR BUSINESS INTERRUPTION) HOWEVER
* CAUSED AND ON ANY THEORY OF LIABILITY, WHETHER IN CONTRACT, STRICT LIABILITY,
* OR TORT (INCLUDING NEGLIGENCE OR OTHERWISE) ARISING IN ANY WAY OUT OF THE USE
* OF THIS SOFTWARE, EVEN IF ADVISED OF THE POSSIBILITY OF SUCH DAMAGE.
*
******************************************************************************
*/

/** System Clock Configuration
*/
void SystemClock_Config(void)
{

  RCC_OscInitTypeDef RCC_OscInitStruct;
  RCC_ClkInitTypeDef RCC_ClkInitStruct;
  RCC_PeriphCLKInitTypeDef PeriphClkInit;

    /**Initializes the CPU, AHB and APB busses clocks
    */
  RCC_OscInitStruct.OscillatorType = RCC_OSCILLATORTYPE_HSI|RCC_OSCILLATORTYPE_LSI;
  RCC_OscInitStruct.HSIState = RCC_HSI_ON;
  RCC_OscInitStruct.HSICalibrationValue = 16;
  RCC_OscInitStruct.LSIState = RCC_LSI_ON;
  RCC_OscInitStruct.PLL.PLLState = RCC_PLL_ON;
  RCC_OscInitStruct.PLL.PLLSource = RCC_PLLSOURCE_HSI;
  RCC_OscInitStruct.PLL.PLLMUL = RCC_PLL_MUL9;
  RCC_OscInitStruct.PLL.PREDIV = RCC_PREDIV_DIV1;
  if (HAL_RCC_OscConfig(&RCC_OscInitStruct) != HAL_OK)
  {
    _Error_Handler(__FILE__, __LINE__);
  }

    /**Initializes the CPU, AHB and APB busses clocks
    */
  RCC_ClkInitStruct.ClockType = RCC_CLOCKTYPE_HCLK|RCC_CLOCKTYPE_SYSCLK
                              |RCC_CLOCKTYPE_PCLK1|RCC_CLOCKTYPE_PCLK2;
  RCC_ClkInitStruct.SYSCLKSource = RCC_SYSCLKSOURCE_PLLCLK;
  RCC_ClkInitStruct.AHBCLKDivider = RCC_SYSCLK_DIV1;
  RCC_ClkInitStruct.APB1CLKDivider = RCC_HCLK_DIV2;
  RCC_ClkInitStruct.APB2CLKDivider = RCC_HCLK_DIV1;

  if (HAL_RCC_ClockConfig(&RCC_ClkInitStruct, FLASH_LATENCY_2) != HAL_OK)
  {
    _Error_Handler(__FILE__, __LINE__);
  }

  PeriphClkInit.PeriphClockSelection = RCC_PERIPHCLK_TIM1|RCC_PERIPHCLK_TIM16
                              |RCC_PERIPHCLK_TIM2|RCC_PERIPHCLK_TIM34;
  PeriphClkInit.Tim1ClockSelection = RCC_TIM1CLK_HCLK;
  PeriphClkInit.Tim16ClockSelection = RCC_TIM16CLK_HCLK;
  PeriphClkInit.Tim2ClockSelection = RCC_TIM2CLK_HCLK;
  PeriphClkInit.Tim34ClockSelection = RCC_TIM34CLK_HCLK;
  if (HAL_RCCEx_PeriphCLKConfig(&PeriphClkInit) != HAL_OK)
  {
    _Error_Handler(__FILE__, __LINE__);
  }

    /**Configure the Systick interrupt time
    */
  HAL_SYSTICK_Config(HAL_RCC_GetHCLKFreq()/1000);

    /**Configure the Systick
    */
  HAL_SYSTICK_CLKSourceConfig(SYSTICK_CLKSOURCE_HCLK);

  /* SysTick_IRQn interrupt configuration */
  HAL_NVIC_SetPriority(SysTick_IRQn, 0, 0);
}

/* COMP1 init function */
static void MX_COMP1_Init(void)
{

  hcomp1.Instance = COMP1;
  hcomp1.Init.InvertingInput = COMP_INVERTINGINPUT_IO1;
  hcomp1.Init.NonInvertingInput = COMP_NONINVERTINGINPUT_IO1;
  hcomp1.Init.Output = COMP_OUTPUT_NONE;
  hcomp1.Init.OutputPol = COMP_OUTPUTPOL_NONINVERTED;
  hcomp1.Init.BlankingSrce = COMP_BLANKINGSRCE_TIM1OC5;
  hcomp1.Init.TriggerMode = COMP_TRIGGERMODE_IT_RISING_FALLING;
  if (HAL_COMP_Init(&hcomp1) != HAL_OK)
  {
    _Error_Handler(__FILE__, __LINE__);
  }

}

/* IWDG init function */
static void MX_IWDG_Init(void)
{

	hiwdg.Instance = IWDG;
	hiwdg.Init.Prescaler = IWDG_PRESCALER_16;
	hiwdg.Init.Window = IWDG_WINDOW_DISABLE;
	hiwdg.Init.Reload = 2000;
	if (HAL_IWDG_Init(&hiwdg) != HAL_OK)
	{
		_Error_Handler(__FILE__, __LINE__);
	}

}

/* SPI3 init function */
static void MX_SPI3_Init(void)
{

  /* SPI3 parameter configuration*/
  hspi3.Instance = SPI3;
  hspi3.Init.Mode = SPI_MODE_MASTER;
  hspi3.Init.Direction = SPI_DIRECTION_2LINES;
  hspi3.Init.DataSize = SPI_DATASIZE_16BIT;
  hspi3.Init.CLKPolarity = SPI_POLARITY_LOW;
  hspi3.Init.CLKPhase = SPI_PHASE_2EDGE;
  hspi3.Init.NSS = SPI_NSS_SOFT;
  hspi3.Init.BaudRatePrescaler = SPI_BAUDRATEPRESCALER_16;
  hspi3.Init.FirstBit = SPI_FIRSTBIT_MSB;
  hspi3.Init.TIMode = SPI_TIMODE_DISABLE;
  hspi3.Init.CRCCalculation = SPI_CRCCALCULATION_DISABLE;
  hspi3.Init.CRCPolynomial = 7;
  hspi3.Init.CRCLength = SPI_CRC_LENGTH_DATASIZE;
  hspi3.Init.NSSPMode = SPI_NSS_PULSE_ENABLE;
  if (HAL_SPI_Init(&hspi3) != HAL_OK)
  {
    _Error_Handler(__FILE__, __LINE__);
  }

}

/* TIM1 init function */
static void MX_TIM1_Init(void)
{

  TIM_ClockConfigTypeDef sClockSourceConfig;
  TIM_MasterConfigTypeDef sMasterConfig;
  TIM_OC_InitTypeDef sConfigOC;
  TIM_BreakDeadTimeConfigTypeDef sBreakDeadTimeConfig;

  htim1.Instance = TIM1;
  htim1.Init.Prescaler = 1;
  htim1.Init.CounterMode = TIM_COUNTERMODE_UP;
  htim1.Init.Period = 1499;
  htim1.Init.ClockDivision = TIM_CLOCKDIVISION_DIV1;
  htim1.Init.RepetitionCounter = 0;
  htim1.Init.AutoReloadPreload = TIM_AUTORELOAD_PRELOAD_DISABLE;
  if (HAL_TIM_Base_Init(&htim1) != HAL_OK)
  {
    _Error_Handler(__FILE__, __LINE__);
  }

  sClockSourceConfig.ClockSource = TIM_CLOCKSOURCE_INTERNAL;
  if (HAL_TIM_ConfigClockSource(&htim1, &sClockSourceConfig) != HAL_OK)
  {
    _Error_Handler(__FILE__, __LINE__);
  }

  if (HAL_TIM_PWM_Init(&htim1) != HAL_OK)
  {
    _Error_Handler(__FILE__, __LINE__);
  }

  if (HAL_TIM_OC_Init(&htim1) != HAL_OK)
  {
    _Error_Handler(__FILE__, __LINE__);
  }

  sMasterConfig.MasterOutputTrigger = TIM_TRGO_RESET;
  sMasterConfig.MasterOutputTrigger2 = TIM_TRGO2_RESET;
  sMasterConfig.MasterSlaveMode = TIM_MASTERSLAVEMODE_DISABLE;
  if (HAL_TIMEx_MasterConfigSynchronization(&htim1, &sMasterConfig) != HAL_OK)
  {
    _Error_Handler(__FILE__, __LINE__);
  }

  sConfigOC.OCMode = TIM_OCMODE_PWM1;
  sConfigOC.Pulse = 0;
  sConfigOC.OCPolarity = TIM_OCPOLARITY_HIGH;
  sConfigOC.OCNPolarity = TIM_OCNPOLARITY_HIGH;
  sConfigOC.OCFastMode = TIM_OCFAST_DISABLE;
  sConfigOC.OCIdleState = TIM_OCIDLESTATE_RESET;
  sConfigOC.OCNIdleState = TIM_OCNIDLESTATE_RESET;
  if (HAL_TIM_PWM_ConfigChannel(&htim1, &sConfigOC, TIM_CHANNEL_1) != HAL_OK)
  {
    _Error_Handler(__FILE__, __LINE__);
  }

  if (HAL_TIM_PWM_ConfigChannel(&htim1, &sConfigOC, TIM_CHANNEL_2) != HAL_OK)
  {
    _Error_Handler(__FILE__, __LINE__);
  }

  if (HAL_TIM_PWM_ConfigChannel(&htim1, &sConfigOC, TIM_CHANNEL_3) != HAL_OK)
  {
    _Error_Handler(__FILE__, __LINE__);
  }
  sConfigOC.OCMode = TIM_OCMODE_TIMING;
    sConfigOC.Pulse = 0;
  if (HAL_TIM_PWM_ConfigChannel(&htim1, &sConfigOC, TIM_CHANNEL_5) != HAL_OK)
  {
    _Error_Handler(__FILE__, __LINE__);
  }

  sBreakDeadTimeConfig.OffStateRunMode = TIM_OSSR_DISABLE;
  sBreakDeadTimeConfig.OffStateIDLEMode = TIM_OSSI_DISABLE;
  sBreakDeadTimeConfig.LockLevel = TIM_LOCKLEVEL_OFF;
  sBreakDeadTimeConfig.DeadTime = 120;
  sBreakDeadTimeConfig.BreakState = TIM_BREAK_DISABLE;
  sBreakDeadTimeConfig.BreakPolarity = TIM_BREAKPOLARITY_HIGH;
  sBreakDeadTimeConfig.BreakFilter = 0;
  sBreakDeadTimeConfig.Break2State = TIM_BREAK2_DISABLE;
  sBreakDeadTimeConfig.Break2Polarity = TIM_BREAK2POLARITY_HIGH;
  sBreakDeadTimeConfig.Break2Filter = 0;
  sBreakDeadTimeConfig.AutomaticOutput = TIM_AUTOMATICOUTPUT_DISABLE;
  if (HAL_TIMEx_ConfigBreakDeadTime(&htim1, &sBreakDeadTimeConfig) != HAL_OK)
  {
    _Error_Handler(__FILE__, __LINE__);
  }

  HAL_TIM_MspPostInit(&htim1);

}

/* TIM2 init function */
static void MX_TIM2_Init(void)
{

  TIM_ClockConfigTypeDef sClockSourceConfig;
  TIM_MasterConfigTypeDef sMasterConfig;
  TIM_IC_InitTypeDef sConfigIC;

  htim2.Instance = TIM2;
  htim2.Init.Prescaler = 0;
  htim2.Init.CounterMode = TIM_COUNTERMODE_UP;
  htim2.Init.Period = 65536;
  htim2.Init.ClockDivision = TIM_CLOCKDIVISION_DIV1;
  htim2.Init.AutoReloadPreload = TIM_AUTORELOAD_PRELOAD_DISABLE;
  if (HAL_TIM_Base_Init(&htim2) != HAL_OK)
  {
    _Error_Handler(__FILE__, __LINE__);
  }

  sClockSourceConfig.ClockSource = TIM_CLOCKSOURCE_INTERNAL;
  if (HAL_TIM_ConfigClockSource(&htim2, &sClockSourceConfig) != HAL_OK)
  {
    _Error_Handler(__FILE__, __LINE__);
  }

  if (HAL_TIM_IC_Init(&htim2) != HAL_OK)
  {
    _Error_Handler(__FILE__, __LINE__);
  }

  sMasterConfig.MasterOutputTrigger = TIM_TRGO_RESET;
  sMasterConfig.MasterSlaveMode = TIM_MASTERSLAVEMODE_DISABLE;
  if (HAL_TIMEx_MasterConfigSynchronization(&htim2, &sMasterConfig) != HAL_OK)
  {
    _Error_Handler(__FILE__, __LINE__);
  }

  sConfigIC.ICPolarity = TIM_INPUTCHANNELPOLARITY_BOTHEDGE;
  sConfigIC.ICSelection = TIM_ICSELECTION_DIRECTTI;
  sConfigIC.ICPrescaler = TIM_ICPSC_DIV1;
  sConfigIC.ICFilter = 0;
  if (HAL_TIM_IC_ConfigChannel(&htim2, &sConfigIC, TIM_CHANNEL_4) != HAL_OK)
  {
    _Error_Handler(__FILE__, __LINE__);
  }

}

/* TIM3 init function */
static void MX_TIM3_Init(void)
{

  TIM_ClockConfigTypeDef sClockSourceConfig;
  TIM_MasterConfigTypeDef sMasterConfig;

  htim3.Instance = TIM3;
  htim3.Init.Prescaler = 20;
  htim3.Init.CounterMode = TIM_COUNTERMODE_UP;
  htim3.Init.Period = 65535;
  htim3.Init.ClockDivision = TIM_CLOCKDIVISION_DIV1;
  htim3.Init.AutoReloadPreload = TIM_AUTORELOAD_PRELOAD_DISABLE;
  if (HAL_TIM_Base_Init(&htim3) != HAL_OK)
  {
    _Error_Handler(__FILE__, __LINE__);
  }

  sClockSourceConfig.ClockSource = TIM_CLOCKSOURCE_INTERNAL;
  if (HAL_TIM_ConfigClockSource(&htim3, &sClockSourceConfig) != HAL_OK)
  {
    _Error_Handler(__FILE__, __LINE__);
  }

  sMasterConfig.MasterOutputTrigger = TIM_TRGO_RESET;
  sMasterConfig.MasterSlaveMode = TIM_MASTERSLAVEMODE_DISABLE;
  if (HAL_TIMEx_MasterConfigSynchronization(&htim3, &sMasterConfig) != HAL_OK)
  {
    _Error_Handler(__FILE__, __LINE__);
  }

}

/* TIM16 init function */
static void MX_TIM16_Init(void)
{

  htim16.Instance = TIM16;
  htim16.Init.Prescaler = 10;
  htim16.Init.CounterMode = TIM_COUNTERMODE_UP;
  htim16.Init.Period = 5000;
  htim16.Init.ClockDivision = TIM_CLOCKDIVISION_DIV1;
  htim16.Init.RepetitionCounter = 0;
  htim16.Init.AutoReloadPreload = TIM_AUTORELOAD_PRELOAD_DISABLE;
  if (HAL_TIM_Base_Init(&htim16) != HAL_OK)
  {
    _Error_Handler(__FILE__, __LINE__);
  }

}

static void MX_DMA_Init(void)
{
  /* DMA controller clock enable */
  __HAL_RCC_DMA1_CLK_ENABLE();

  /* DMA interrupt init */
  /* DMA1_Channel7_IRQn interrupt configuration */
  HAL_NVIC_SetPriority(DMA1_Channel7_IRQn, 0, 0);
  HAL_NVIC_EnableIRQ(DMA1_Channel7_IRQn);

}

/** Configure pins as
        * Analog
        * Input
        * Output
        * EVENT_OUT
        * EXTI
*/
static void MX_GPIO_Init(void)
{

  LL_GPIO_InitTypeDef GPIO_InitStruct;

  /* GPIO Ports Clock Enable */
  LL_AHB1_GRP1_EnableClock(LL_AHB1_GRP1_PERIPH_GPIOC);
  LL_AHB1_GRP1_EnableClock(LL_AHB1_GRP1_PERIPH_GPIOA);
  LL_AHB1_GRP1_EnableClock(LL_AHB1_GRP1_PERIPH_GPIOB);
  LL_AHB1_GRP1_EnableClock(LL_AHB1_GRP1_PERIPH_GPIOD);

  /**/
  LL_GPIO_ResetOutputPin(GPIOC, LL_GPIO_PIN_5);

  /**/
  LL_GPIO_ResetOutputPin(GPIOA, LL_GPIO_PIN_15);

  /**/
  LL_GPIO_ResetOutputPin(GPIOD, LL_GPIO_PIN_2);

  /**/
  GPIO_InitStruct.Pin = LL_GPIO_PIN_4;
  GPIO_InitStruct.Mode = LL_GPIO_MODE_INPUT;
  GPIO_InitStruct.Pull = LL_GPIO_PULL_UP;
  LL_GPIO_Init(GPIOC, &GPIO_InitStruct);

  /**/
  GPIO_InitStruct.Pin = LL_GPIO_PIN_5;
  GPIO_InitStruct.Mode = LL_GPIO_MODE_OUTPUT;
  GPIO_InitStruct.Speed = LL_GPIO_SPEED_FREQ_LOW;
  GPIO_InitStruct.OutputType = LL_GPIO_OUTPUT_PUSHPULL;
  GPIO_InitStruct.Pull = LL_GPIO_PULL_NO;
  LL_GPIO_Init(GPIOC, &GPIO_InitStruct);

  /**/
  GPIO_InitStruct.Pin = LL_GPIO_PIN_15;
  GPIO_InitStruct.Mode = LL_GPIO_MODE_OUTPUT;
  GPIO_InitStruct.Speed = LL_GPIO_SPEED_FREQ_LOW;
  GPIO_InitStruct.OutputType = LL_GPIO_OUTPUT_PUSHPULL;
  GPIO_InitStruct.Pull = LL_GPIO_PULL_NO;
  LL_GPIO_Init(GPIOA, &GPIO_InitStruct);

  /**/
  GPIO_InitStruct.Pin = LL_GPIO_PIN_2;
  GPIO_InitStruct.Mode = LL_GPIO_MODE_OUTPUT;
  GPIO_InitStruct.Speed = LL_GPIO_SPEED_FREQ_LOW;
  GPIO_InitStruct.OutputType = LL_GPIO_OUTPUT_PUSHPULL;
  GPIO_InitStruct.Pull = LL_GPIO_PULL_NO;
  LL_GPIO_Init(GPIOD, &GPIO_InitStruct);

}

void _Error_Handler(char * file, int line)
{
	while(1)
	{
	}
}

/************************ (C) COPYRIGHT STMicroelectronics *****END OF FILE****/
